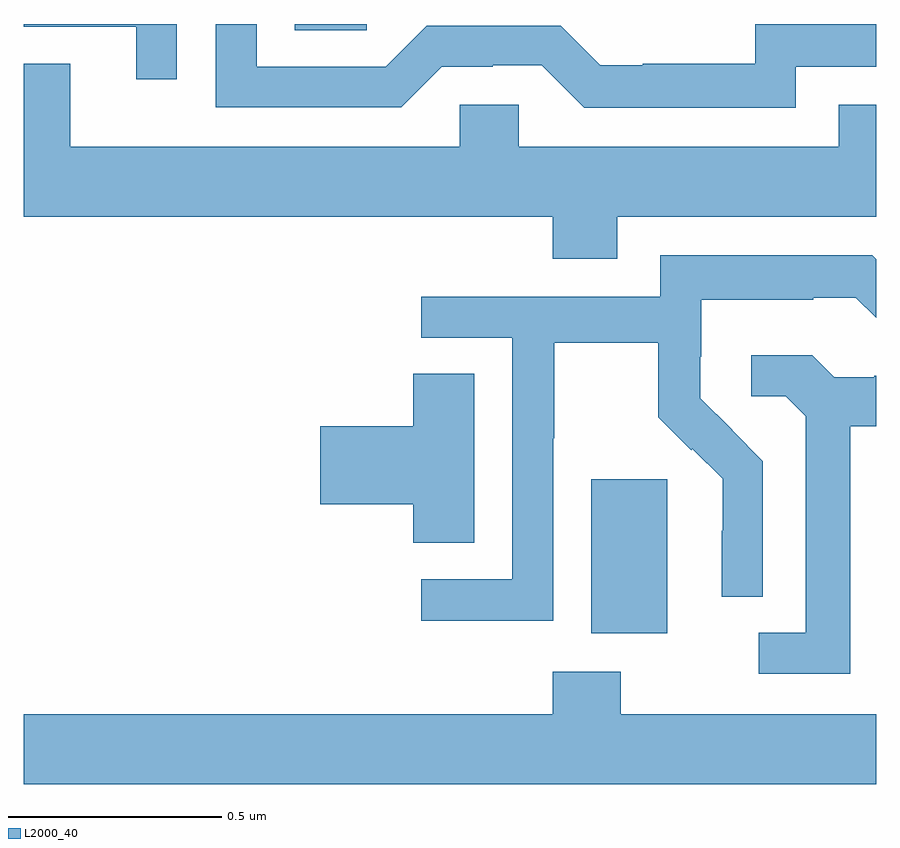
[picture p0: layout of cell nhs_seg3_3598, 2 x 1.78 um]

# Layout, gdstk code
import gdstk
lib = gdstk.Library(unit=1e-6, precision=1e-09)
def R(c, l, rs):  # rectangles x0, y0, x1, y1
    for r in rs: c.add(gdstk.rectangle(r[:2], r[2:], *l))
def P(c, l, *ps):  # polygons
    for p in ps: c.add(gdstk.Polygon(p, *l))
L2000_40 = (2000, 40)

nhs_seg3_3598 = lib.new_cell('nhs_seg3_3598')
R(nhs_seg3_3598, L2000_40, [(157.331,667.97,157.51,668.331), (156.636,669.385,156.805,669.4)])
P(nhs_seg3_3598, L2000_40, [(157.812,669.3),(158,669.3),(158,669.4),(157.716,669.4),(157.716,669.307),(157.453,669.307),(157.453,669.303),(157.353,669.303),(157.26,669.396),(156.945,669.396),(156.849,669.3),(156.546,669.3),(156.546,669.4),(156.45,669.4),(156.45,669.204),(156.885,669.204),(156.981,669.3),(157.1,669.3),(157.1,669.303),(157.215,669.303),(157.315,669.203),(157.812,669.203)],
  [(156.359,669.4),(156,669.4),(156,669.393),(156.263,669.393),(156.263,669.27),(156.359,669.27)],
  [(157.393,668.948),(158,668.948),(158,669.211),(157.913,669.211),(157.913,669.112),(157.161,669.112),(157.161,669.21),(157.023,669.21),(157.023,669.112),(156.109,669.112),(156.109,669.307),(156,669.307),(156,668.948),(157.241,668.948),(157.241,668.849),(157.393,668.849)],
  [(157.242,668.428),(157.245,668.428),(157.245,668.652),(157.489,668.652),(157.489,668.477),(157.566,668.4),(157.569,668.403),(157.64,668.333),(157.64,668.21),(157.638,668.21),(157.638,668.056),(157.734,668.056),(157.734,668.374),(157.661,668.447),(157.662,668.448),(157.588,668.522),(157.588,668.619),(157.59,668.619),(157.59,668.753),(157.853,668.753),(157.853,668.757),(157.953,668.757),(158,668.71),(158,668.848),(157.991,668.857),(157.494,668.857),(157.494,668.76),(156.933,668.76),(156.933,668.664),(157.146,668.664),(157.146,668.097),(156.933,668.097),(156.933,667.999),(157.242,667.999)],
  [(157.939,668.456),(158,668.456),(158,668.574),(157.996,668.574),(157.996,668.571),(157.902,668.571),(157.85,668.623),(157.707,668.623),(157.707,668.526),(157.788,668.526),(157.835,668.479),(157.835,667.971),(157.725,667.971),(157.725,667.875),(157.939,667.875)],
  [(157.057,668.579),(156.914,668.579),(156.914,668.456),(156.696,668.456),(156.696,668.273),(156.914,668.273),(156.914,668.182),(157.057,668.182)],
  [(158,667.78),(157.401,667.78),(157.401,667.879),(157.241,667.879),(157.241,667.78),(156,667.78),(156,667.616),(158,667.616)])

lib.write_gds('nhs_seg3_3598.gds')
